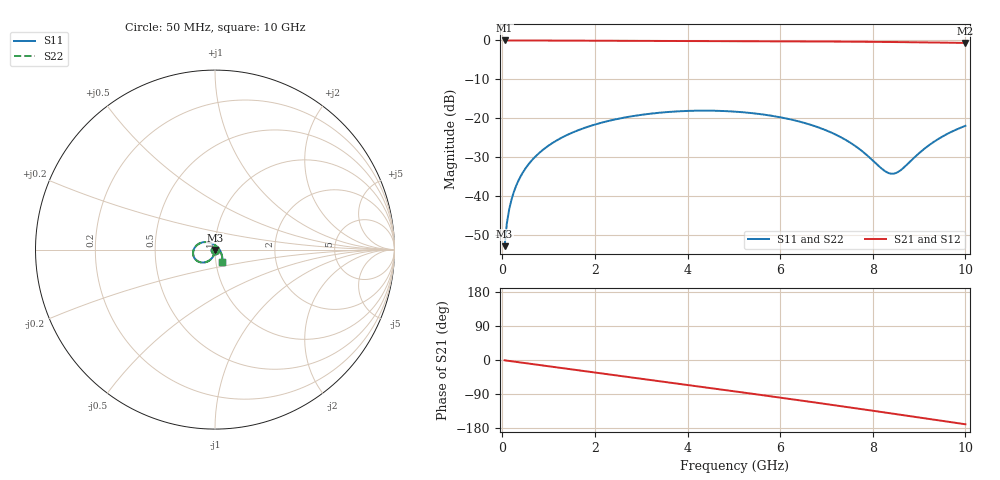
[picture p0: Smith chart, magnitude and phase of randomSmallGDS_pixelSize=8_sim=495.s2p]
! freq	dB(S11)	phase(S11)	dB(S12)	phase(S12)
!  dB(S21)	phase(S21)	dB(S22)	phase(S22)
!S-par simulation data
#  GHz  S  DB  R 50
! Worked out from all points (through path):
!   200 points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, 50 MHz to 10 GHz, reference 50 ohm
!   highest |S21| = 0.00 dB at 50 MHz (marker M1); lowest = -0.6 dB at 10 GHz (marker M2)
!   group delay of S21, straight-line fit = 46.9 ps
!   lowest |S11| = -52.9 dB at 50 MHz (marker M3), VSWR 1.00, Z = 50 - j0.226 ohm
!   |S11| at or under -10 dB: start of sweep to end of sweep
!   |S22| runs from -52.9 to -18.1 dB; largest |S21 - S12| = 0
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0.05  -52.93 -90.5  -0.00 -0.8  -0.00 -0.8  -52.94 -90.4
0.1  -46.91 -91.6  -0.00 -1.7  -0.00 -1.7  -46.91 -91.6
0.15  -43.39 -92.6  -0.00 -2.5  -0.00 -2.5  -43.39 -92.6
0.2  -40.89 -93.6  -0.00 -3.3  -0.00 -3.3  -40.89 -93.6
0.35  -36.03 -96.3  -0.01 -5.8  -0.01 -5.8  -36.03 -96.3
0.5  -32.94 -98.9  -0.01 -8.3  -0.01 -8.3  -32.94 -98.9
0.7  -30.05 -102.4  -0.02 -11.6  -0.02 -11.6  -30.05 -102.4
1  -27.05 -107.5  -0.03 -16.6  -0.03 -16.6  -27.05 -107.5
1.35  -24.61 -113.4  -0.04 -22.3  -0.04 -22.3  -24.61 -113.4
1.75  -22.61 -120.1  -0.05 -28.9  -0.05 -28.9  -22.61 -120.1
2.5  -20.16 -132.7  -0.09 -41.2  -0.09 -41.2  -20.16 -132.7
3.4  -18.59 -147.8  -0.13 -56.0  -0.13 -56.0  -18.59 -147.8
4.25  -18.07 -162.4  -0.16 -70.0  -0.16 -70.0  -18.07 -162.3
5.05  -18.34 -176.6  -0.19 -83.3  -0.19 -83.3  -18.34 -176.5
5.95  -19.65 166.3  -0.22 -98.4  -0.22 -98.4  -19.65 166.4
6.7  -21.86 150.2  -0.26 -111.2  -0.26 -111.2  -21.86 150.4
7.15  -23.94 138.5  -0.28 -119.0  -0.28 -119.0  -23.95 138.8
7.5  -26.20 126.9  -0.31 -125.1  -0.31 -125.1  -26.22 127.3
8.35  -34.16 55.3  -0.39 -140.1  -0.39 -140.1  -34.35 55.7
8.55  -33.81 22.2  -0.41 -143.6  -0.41 -143.6  -34.01 21.9
9.3  -26.24 -38.6  -0.52 -157.0  -0.52 -157.0  -26.29 -39.2
10  -21.96 -59.9  -0.64 -169.6  -0.64 -169.6  -21.99 -60.3
